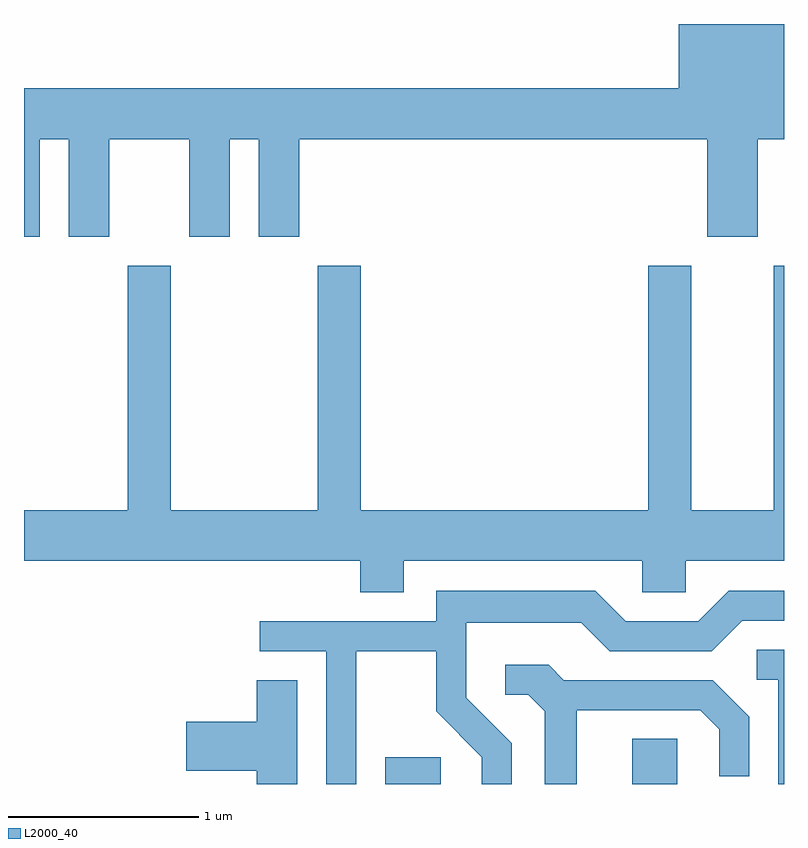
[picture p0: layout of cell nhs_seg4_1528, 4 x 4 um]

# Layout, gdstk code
import gdstk
lib = gdstk.Library(unit=1e-6, precision=1e-09)
def R(c, l, rs):  # rectangles x0, y0, x1, y1
    for r in rs: c.add(gdstk.rectangle(r[:2], r[2:], *l))
def P(c, l, *ps):  # polygons
    for p in ps: c.add(gdstk.Polygon(p, *l))
L2000_40 = (2000, 40)

nhs_seg4_1528 = lib.new_cell('nhs_seg4_1528')
R(nhs_seg4_1528, L2000_40, [(231.511,1317.982,231.804,1318.124), (232.811,1317.982,233.049,1318.219)])
P(nhs_seg4_1528, L2000_40, [(233.056,1321.644),(229.611,1321.644),(229.611,1320.861),(229.694,1320.861),(229.694,1321.376),(229.846,1321.376),(229.846,1320.861),(230.059,1320.861),(230.059,1321.376),(230.481,1321.376),(230.481,1320.861),(230.694,1320.861),(230.694,1321.376),(230.846,1321.376),(230.846,1320.861),(231.059,1320.861),(231.059,1321.376),(233.206,1321.376),(233.206,1320.861),(233.474,1320.861),(233.474,1321.376),(233.611,1321.376),(233.611,1321.982),(233.056,1321.982)],
  [(231.609,1319.156),(232.866,1319.156),(232.866,1318.991),(233.094,1318.991),(233.094,1319.156),(233.611,1319.156),(233.611,1320.709),(233.556,1320.709),(233.556,1319.424),(233.124,1319.424),(233.124,1320.709),(232.896,1320.709),(232.896,1319.424),(231.384,1319.424),(231.384,1320.709),(231.156,1320.709),(231.156,1319.424),(230.384,1319.424),(230.384,1320.709),(230.156,1320.709),(230.156,1319.424),(229.611,1319.424),(229.611,1319.156),(231.381,1319.156),(231.381,1318.991),(231.609,1318.991)],
  [(231.359,1318.681),(231.781,1318.681),(231.781,1318.364),(232.021,1318.124),(232.021,1317.982),(232.179,1317.982),(232.179,1318.197),(231.939,1318.437),(231.939,1318.831),(232.544,1318.831),(232.694,1318.681),(233.232,1318.681),(233.392,1318.841),(233.611,1318.841),(233.611,1318.999),(233.319,1318.999),(233.159,1318.839),(232.777,1318.839),(232.617,1318.999),(231.781,1318.999),(231.781,1318.839),(230.853,1318.839),(230.853,1318.681),(231.201,1318.681),(231.201,1317.982),(231.359,1317.982)],
  [(233.611,1318.689),(233.468,1318.689),(233.468,1318.531),(233.581,1318.531),(233.581,1317.982),(233.611,1317.982)],
  [(232.519,1318.371),(233.169,1318.371),(233.271,1318.269),(233.271,1318.023),(233.429,1318.023),(233.429,1318.337),(233.237,1318.529),(232.452,1318.529),(232.372,1318.609),(232.143,1318.609),(232.143,1318.451),(232.264,1318.451),(232.351,1318.364),(232.351,1317.982),(232.519,1317.982)],
  [(231.049,1318.529),(230.836,1318.529),(230.836,1318.309),(230.466,1318.309),(230.466,1318.051),(230.836,1318.051),(230.836,1317.982),(231.049,1317.982)])

lib.write_gds('nhs_seg4_1528.gds')
